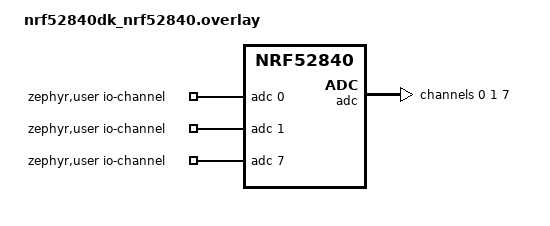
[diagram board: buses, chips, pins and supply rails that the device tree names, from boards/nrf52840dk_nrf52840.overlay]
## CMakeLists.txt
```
cmake_minimum_required(VERSION 3.20.0)

# Handle custom boilerplate, if defined
if(DEFINED CUSTOM_BOILERPLATE)
    include(${CUSTOM_BOILERPLATE})
    return()
endif()

set(COMMON_PATH "C:/ncs/v2.4.2/modules/hal/nordic/nrfx/samples/common")
include(${COMMON_PATH}/common.cmake)

GET_DEVICE_CONFIG_FILES(${BOARD} boards)

find_package(Zephyr REQUIRED HINTS $ENV{ZEPHYR_BASE})
project(nrfx_example)

target_sources(app PRIVATE src/main.c 
                           src/Json/cJSON.c
                           src/Json/Jsonhandler.c
                           #src/BLE/BleHandler.c
						   #src/BLE/BleService.c
                           src/MESH/mesh_handler.c
                           src/MESH/mesh_sub_sys.c
                           "C:/ncs/v2.4.2/modules/hal/nordic/nrfx/samples/src/nrfx_saadc/common/saadc_examples_common.c")
target_include_directories(app PRIVATE src/Json 
                                      # src/BLE
                                       src/MESH
                                       ${COMMON_PATH} "C:/ncs/v2.4.2/modules/hal/nordic/nrfx/samples/src/nrfx_saadc/common")
```

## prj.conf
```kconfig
CONFIG_ADC=y
CONFIG_ADC_ASYNC=y
CONFIG_GPIO=y
CONFIG_STDOUT_CONSOLE=y
CONFIG_PRINTK=y
CONFIG_PWM=y
CONFIG_LOG_PRINTK=y
CONFIG_LOG_MODE_IMMEDIATE=y
CONFIG_PWM_LOG_LEVEL_DBG=y
CONFIG_NEWLIB_LIBC=y
CONFIG_ADC_NRFX_SAADC=y
CONFIG_NRFX_SAADC=y
CONFIG_LOG=y
CONFIG_PM=y
CONFIG_PM_DEVICE=y
#CONFIG_TRACING_SYSCALL=y


CONFIG_BT=y
CONFIG_BT_PERIPHERAL=y
CONFIG_BT_DEVICE_NAME="VISENSE_TEST"
CONFIG_BT_CTLR_ADV_EXT=y
CONFIG_BT_EXT_ADV=y
CONFIG_BT_CTLR_ADV_DATA_LEN_MAX=225
CONFIG_BT_USER_DATA_LEN_UPDATE=y
#CONFIG_BT_USER_PHY_UPDATE=y
CONFIG_BT_GAP_AUTO_UPDATE_CONN_PARAMS=n
CONFIG_HEAP_MEM_POOL_SIZE=4096
CONFIG_BT_BUF_ACL_RX_SIZE=251
CONFIG_BT_ATT_PREPARE_COUNT=2
CONFIG_BT_L2CAP_TX_MTU=247

CONFIG_BT_BUF_ACL_TX_COUNT=10
CONFIG_BT_BUF_ACL_TX_SIZE=251
#CONFIG_BT_AUTO_PHY_UPDATE=y
CONFIG_BT_CTLR_DATA_LENGTH_MAX=251
CONFIG_LOG_DEFAULT_LEVEL=3


###################################################

#
# Copyright (c) 2020 Nordic Semiconductor ASA
#
# SPDX-License-Identifier: LicenseRef-Nordic-5-Clause
#
CONFIG_NCS_SAMPLES_DEFAULTS=y

# Deffered logging helps improve LPN power consumption
# when friendship is established.
CONFIG_LOG_MODE_DEFERRED=y

# General configuration
CONFIG_SYSTEM_WORKQUEUE_STACK_SIZE=2048
CONFIG_FLASH=y
CONFIG_FLASH_MAP=y
CONFIG_NVS=y
CONFIG_NVS_LOOKUP_CACHE=y
CONFIG_SETTINGS=y
CONFIG_SETTINGS_NVS_NAME_CACHE=y
CONFIG_HWINFO=y
CONFIG_DK_LIBRARY=y
CONFIG_PM_SINGLE_IMAGE=y
CONFIG_PM_PARTITION_SIZE_SETTINGS_STORAGE=0x8000
CONFIG_SOC_FLASH_NRF_PARTIAL_ERASE=y

# Temperature sensor
CONFIG_SENSOR=y
CONFIG_TEMP_NRF5=y

# Bluetooth configuration
CONFIG_BT=y
CONFIG_BT_COMPANY_ID=0x0059
#CONFIG_BT_DEVICE_NAME="Mesh Sensor"
CONFIG_BT_L2CAP_TX_MTU=69
CONFIG_BT_L2CAP_TX_BUF_COUNT=8
#CONFIG_BT_CTLR_DATA_LENGTH_MAX=37
#CONFIG_BT_BUF_ACL_TX_SIZE=37
CONFIG_BT_OBSERVER=y
CONFIG_BT_PERIPHERAL=y
CONFIG_BT_SETTINGS=y

# Disable unused Bluetooth features
CONFIG_BT_CTLR_DUP_FILTER_LEN=0
CONFIG_BT_CTLR_LE_ENC=n
CONFIG_BT_PHY_UPDATE=n
CONFIG_BT_CTLR_CHAN_SEL_2=n
CONFIG_BT_CTLR_MIN_USED_CHAN=n
CONFIG_BT_CTLR_PRIVACY=n

# Bluetooth mesh configuration
CONFIG_BT_MESH=y
CONFIG_BT_MESH_RELAY=y
CONFIG_BT_MESH_FRIEND=y
CONFIG_BT_MESH_ADV_BUF_COUNT=13
CONFIG_BT_MESH_TX_SEG_MAX=10
CONFIG_BT_MESH_PB_GATT=y
CONFIG_BT_MESH_GATT_PROXY=y
CONFIG_BT_MESH_PROXY_USE_DEVICE_NAME=y
CONFIG_BT_MESH_DK_PROV=y
CONFIG_BT_MESH_SUBNET_COUNT=2
CONFIG_BT_MESH_APP_KEY_COUNT=3
CONFIG_BT_MESH_CRPL=32
CONFIG_BT_MESH_MSG_CACHE_SIZE=64

# Bluetooth mesh models
CONFIG_BT_MESH_SENSOR_SRV=y
CONFIG_BT_MESH_SENSOR_SRV_SENSORS_MAX=5
CONFIG_BT_MESH_SENSOR_LABELS=y

CONFIG_ADC=y
CONFIG_ADC_ASYNC=y
CONFIG_GPIO=y
CONFIG_STDOUT_CONSOLE=y
CONFIG_PRINTK=y
CONFIG_PWM=y
CONFIG_LOG_PRINTK=y
CONFIG_LOG_MODE_IMMEDIATE=y
CONFIG_PWM_LOG_LEVEL_DBG=y
CONFIG_NEWLIB_LIBC=y
CONFIG_ADC_NRFX_SAADC=y
CONFIG_NRFX_SAADC=y
CONFIG_LOG=y
CONFIG_PM=y
CONFIG_PM_DEVICE=y
```

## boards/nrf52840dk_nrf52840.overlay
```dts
/*
 * SPDX-License-Identifier: Apache-2.0
 *
 * Copyright (c) 2022 Nordic Semiconductor ASA
 */


/ {
	zephyr,user {
		io-channels = <&adc 0>, <&adc 1>, <&adc 7>;
	};
};

&adc {
	#address-cells = <1>;
	#size-cells = <0>;

	channel@0 {
		reg = <0>;
		zephyr,gain = "ADC_GAIN_1_6";
		zephyr,reference = "ADC_REF_INTERNAL";
		zephyr,acquisition-time = <ADC_ACQ_TIME_DEFAULT>;
		zephyr,input-positive = <NRF_SAADC_AIN1>; /* P0.03 */
		zephyr,resolution = <12>;
	};

	channel@1 {
		reg = <1>;
		zephyr,gain = "ADC_GAIN_1_6";
		zephyr,reference = "ADC_REF_INTERNAL";
		zephyr,acquisition-time = <ADC_ACQ_TIME_DEFAULT>;
		zephyr,input-positive = <NRF_SAADC_VDD>;
		zephyr,resolution = <14>;
		zephyr,oversampling = <8>;
	};

	channel@7 {
		reg = <7>;
		zephyr,gain = "ADC_GAIN_1_5";
		zephyr,reference = "ADC_REF_VDD_1_4";
		zephyr,vref-mv = <750>;
		zephyr,acquisition-time = <ADC_ACQ_TIME_DEFAULT>;
		zephyr,input-positive = <NRF_SAADC_AIN6>; /* P0.30 */
		zephyr,input-negative = <NRF_SAADC_AIN7>; /* P0.31 */
		zephyr,resolution = <12>;
	};
};

&arduino_adc {
	io-channel-map = <0 &adc 1>;
};
```

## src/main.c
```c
/**
 * @file main.c
 * @brief Main function
 * @date 2023-21-09
 * @author Jeslin
 * @note  This is a test code for pressure sensor.
*/


/*******************************INCLUDES****************************************/
#include <zephyr/device.h>
#include <zephyr/pm/pm.h>
#include <zephyr/pm/device.h>
#include <zephyr/devicetree.h>
#include <zephyr/drivers/gpio.h>
#include <zephyr/kernel.h>
#include <zephyr/sys/printk.h>
#include <zephyr/sys/util.h>
#include <nrfx_example.h>
#include <saadc_examples_common.h>
#include <nrfx_saadc.h>
#include <nrfx_log.h>
#include <stdlib.h>
#include <stdio.h>
//#include "BleHandler.h"
//#include "BleService.h"
#include "JsonHandler.h"
#include <mesh_sub_sys.h>


/*******************************MACROS****************************************/
#define INFOLITZ_EDIT //Comment this line to disable our changes
//#define SLEEP_ENABLE  //Uncomment this line to enable sleep functionality
#define ADC_MAX_VALUE 1023
#define PRESSURE_SENSOR 0x01

/*******************************TYPEDEFS****************************************/

/*******************************GLOBAL VARIABLES********************************/

#ifndef INFOLITZ_EDIT
    const int pressureMax = 929; //analog reading of pressure transducer at 100psi
    const int pressureZero = 110; //analog reading of pressure transducer at 0psi
#else
    static uint32_t pressureZero = 150; //analog reading of pressure transducer at 0psi
                              //PressureZero = 0.5/3.3V*1024~150(supply voltage - 3.3v) taken from Arduino code refernce from visense 
    static uint32_t pressureMax = 775; //analog reading of pressure transducer at 100psi
                             //PressureMax = 2.5/3.3V*1024~775  taken from Arduino code refernce from visense       
#endif
    uint16_t unPressureRaw = 0;
const int pressuretransducermaxPSI = 70; //psi value of transducer being used
cJSON *pcData = NULL;
const struct device *pAdc = NULL;
const struct gpio_dt_spec sSleepStatusLED = GPIO_DT_SPEC_GET(DT_ALIAS(led0), gpios);
void setPressureZero(uint32_t ucbuff);
void setPressureMax(uint32_t ucbuff);
/*******************************FUNCTION DEFINITIONS********************************/

/**
 * @brief  This function is to read raw adc value
 * @param  None 
 * @return uint16_t - ADC result
*/
uint16_t AnalogRead(void)
{
    nrfx_err_t status;
    uint16_t sample_value;

    status = nrfx_saadc_buffer_set(&sample_value, 1);
    NRFX_ASSERT(status == NRFX_SUCCESS);
    status = nrfx_saadc_mode_trigger();
    NRFX_ASSERT(status == NRFX_SUCCESS);

    return sample_value;
}
/**
 * @brief Setting pressureZero
 * @param ucbuffer - buffer for setting pressureZero
 * @return void
*/
void SetPressureZero(uint32_t ucbuffer)
{
    pressureZero = ucbuffer;
}
/**
 * @brief Setting pressureMax
 * @param ucbuffer - buffer for setting pressureMax
 * @return void
*/
void SetPressureMax(uint8_t ucbuffer)
{
    pressureMax = ucbuffer;
}

/*
 * @brief Setting Power management policy
 * @param void
 * @return true or false
*/
static bool SetPMState()
{
    bool bRetVal = false;

    struct pm_state_info info =
    {
        .exit_latency_us  = 0,
        .min_residency_us = 0,
        .state            = PM_STATE_SUSPEND_TO_RAM,
        .substate_id      = 0,
    };

    bRetVal = pm_state_force(0, &info);
    return bRetVal;
}

/**
 * @brief function for entering sleep mode
 * @param nDuration - Duration for sleep
 * @return none
*/
static void EnterSleepMode(int nDuration)
{
    pm_device_action_run(pAdc, PM_DEVICE_ACTION_SUSPEND);
    BleStopAdvertise();
    gpio_pin_set(sSleepStatusLED.port, sSleepStatusLED.pin, 1);
    k_sleep(K_SECONDS(nDuration));
}

/**
 * @brief function for exiting sleep mode
 * @return none
*/
static void ExitSleepMode()
{
    pm_device_action_run(pAdc, PM_DEVICE_ACTION_RESUME);
    gpio_pin_set(sSleepStatusLED.port, sSleepStatusLED.pin, 0);
}

/**
 * @brief function to initialize adc
 * @return void
*/
static void InitADC()
{
    nrfx_err_t status;
    status = nrfx_saadc_init(NRFX_SAADC_DEFAULT_CONFIG_IRQ_PRIORITY);
    NRFX_ASSERT(status == NRFX_SUCCESS);

    nrfx_saadc_channel_t saadc_channel = 
    {
        .channel_config = 
        {
            .resistor_p        = NRF_SAADC_RESISTOR_DISABLED,
            .resistor_n        = NRF_SAADC_RESISTOR_DISABLED,
            .gain              = NRF_SAADC_GAIN1_6,
            .reference         = NRF_SAADC_REFERENCE_VDD4,
            .acq_time          = NRF_SAADC_ACQTIME_10US,
            .mode              = NRF_SAADC_MODE_SINGLE_ENDED,
            .burst             = NRF_SAADC_BURST_DISABLED,
        },
        .pin_p             = NRF_SAADC_INPUT_AIN1,
        .pin_n             = NRF_SAADC_INPUT_DISABLED,
        .channel_index     = 1
    };

    status = nrfx_saadc_channel_config(&saadc_channel);
    NRFX_ASSERT(status == NRFX_SUCCESS);
    
    uint32_t channels_mask = nrfx_saadc_channels_configured_get();
    status = nrfx_saadc_simple_mode_set(channels_mask,
                                        NRF_SAADC_RESOLUTION_10BIT,
                                        NRF_SAADC_OVERSAMPLE_DISABLED,
                                        NULL);
    NRFX_ASSERT(status == NRFX_SUCCESS);
}

/**
 * @brief  Main function
 * @return int
*/
int main(void)
{
    int nError;
    uint16_t unPressureResult =0;
    char cbuffer[30] = {0};
    char cJsonBuffer[100] = {0};
    int32_t *pucAdvertisingdata = NULL;
    cJSON *pMainObject = NULL;


    SetPMState();
    //pucAdvertisingdata = GetAdvertisingBuffer();
    InitADC();
    k_sleep(K_MSEC(100));
    pAdc = device_get_binding("arduino_adc");

     if (!EnableBLE())
     {
         //printk("Bluetooth init failed (err %d)\n", nError);
         return 0;
     }
/*
    nError = InitExtendedAdv();
	if (nError) 
    {
		printk("Advertising failed to create (err %d)\n", nError);
		return 0;
	}
*/
    sprintf(cbuffer,"%dpsi", unPressureResult);
    //StartAdvertising();
    gpio_pin_configure_dt(&sSleepStatusLED, GPIO_ACTIVE_LOW);

    while (1) 
    {
        unPressureRaw = AnalogRead();
        if (unPressureRaw > ADC_MAX_VALUE)
        {
            unPressureRaw = 0;
        }
        printk("ADCRaw: %d\n", unPressureRaw);
        pMainObject = cJSON_CreateObject();
        AddItemtoJsonObject(&pMainObject, NUMBER, "ADCValue", &unPressureRaw, sizeof(uint16_t));
        if (unPressureRaw > pressureZero && unPressureRaw < ADC_MAX_VALUE)
        {
            memset(cbuffer, '\0',sizeof(cbuffer));
            unPressureResult = ((unPressureRaw-pressureZero)*pressuretransducermaxPSI)/(pressureMax-pressureZero);
            
            sprintf(cbuffer,"%dpsi", unPressureResult);
            printk("Data:%s\n", cbuffer);
            AddItemtoJsonObject(&pMainObject, STRING, "CurrPressure", (uint8_t*)cbuffer, (uint8_t)strlen(cbuffer));

        }
        else
        {
             AddItemtoJsonObject(&pMainObject, STRING, "PrevPressure", (uint8_t*)cbuffer, (uint8_t)strlen(cbuffer));   
        }

        strcpy(cJsonBuffer, (char *)cJSON_Print(pMainObject));
        pucAdvertisingdata[2] = PRESSURE_SENSOR;
        pucAdvertisingdata[3] = (uint8_t)strlen(cJsonBuffer);
        memcpy(&pucAdvertisingdata[4], cJsonBuffer, strlen(cJsonBuffer));
        printk("JSON:\n%s\n", cJsonBuffer);
        //struct sensor_value *value = (struct sensor_value *)pucAdvertisingdata;
        startPub((double)unPressureRaw);
        
/*
        if(IsNotificationenabled())
        {
           //VisenseSensordataNotify(pucAdvertisingdata+2, ADV_BUFF_SIZE);
        }
        else if (!IsNotificationenabled() && !IsConnected())
        {
            //UpdateAdvertiseData();
            //StartAdvertising();
        }
        else
        {
            //NO OP
        }
        
        //memset(pucAdvertisingdata, 0, ADV_BUFF_SIZE);
*/
        cJSON_Delete(pMainObject);
        k_sleep(K_MSEC(1500));
        printk("PressureZero: %d\n", pressureZero);
        printk("PressureMax: %d\n", pressureMax);
        #ifdef SLEEP_ENABLE
         EnterSleepMode(180);
         ExitSleepMode();
        #endif
    }
}
```
